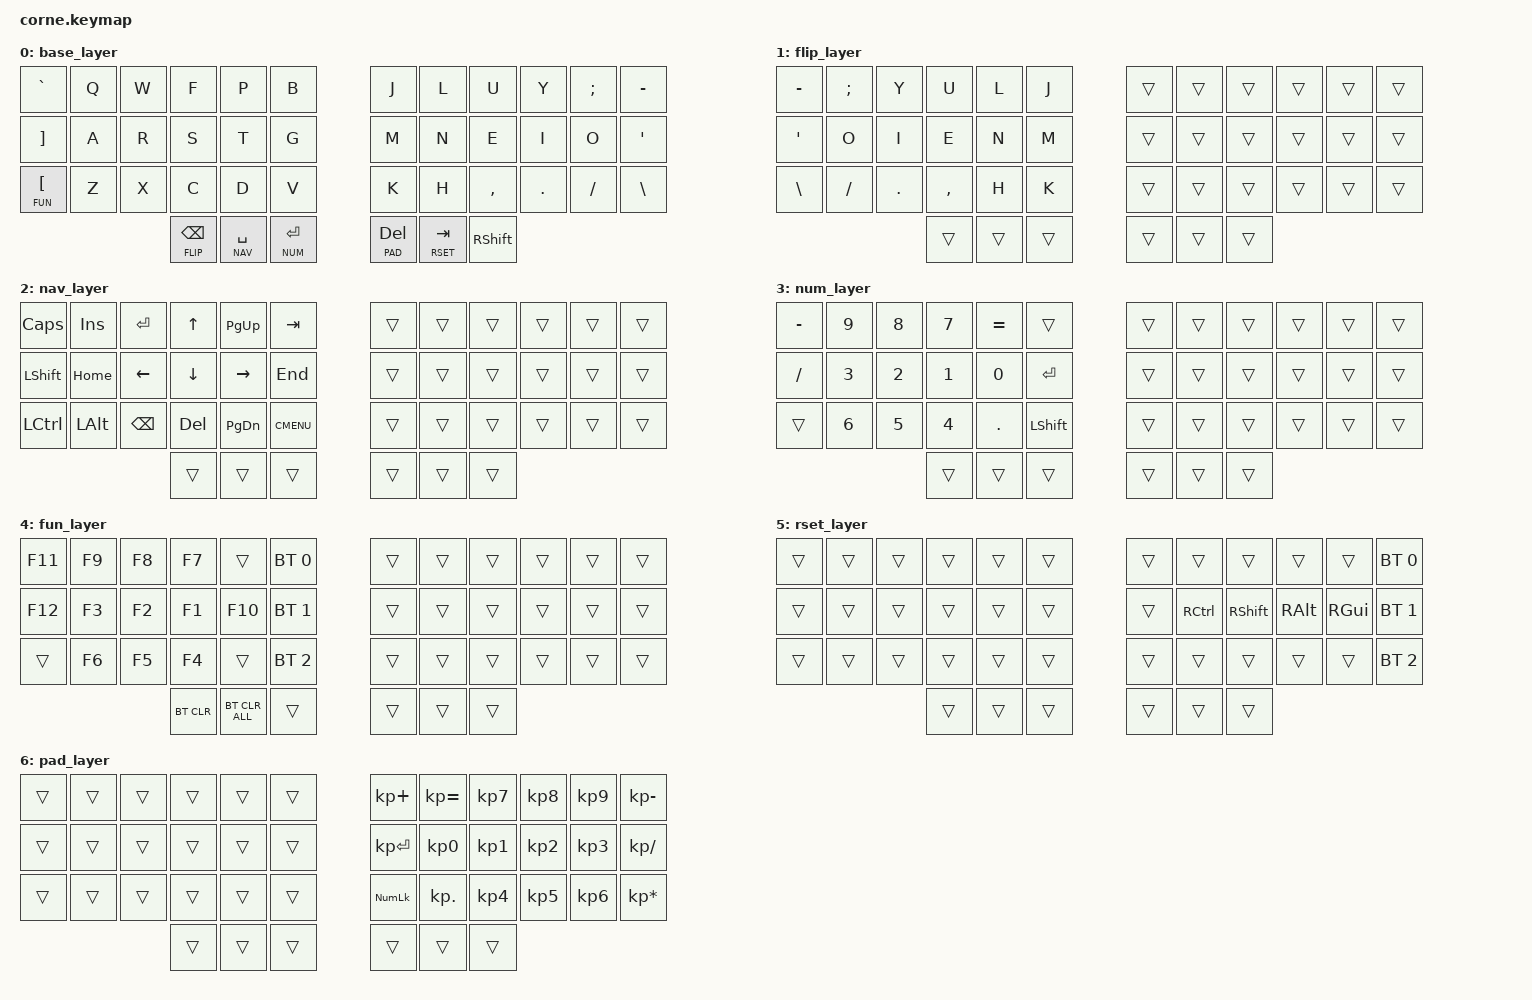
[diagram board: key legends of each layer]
/*
 * Copyright (c) 2020 The ZMK Contributors
 *
 * SPDX-License-Identifier: MIT
 * 7/14/25 Joe Schmaus
 *    - Updating to match "C:\Users\jhsch\Documents\Development\zmk-urchin\Keyboard Layouts.xlsx"
 */

#include <behaviors.dtsi>
#include <dt-bindings/zmk/keys.h>
#include <dt-bindings/zmk/bt.h>

// Layer definitions
#define BASE 0
#define FLIP 1
#define NAV 2
#define NUM 3
#define FUN 4 
#define RSET 5
#define PAD 6
// -----------------

/ {     
    behaviors {
        // Enables holding the first mod-tap key
        // by performing a tap-release-hold sequence.
        // To use it: "&qt KEYCODE1 KEYCODE2"
        qt: quick_tap {
            compatible = "zmk,behavior-hold-tap";
            label = "QUICK_TAP";
            #binding-cells = <2>;
            flavor = "hold-preferred";
            tapping-term-ms = <200>;
            quick-tap-ms = <200>;
            bindings = <&kp>, <&kp>;
        };
		
		// Balanced homerow mods example from zmk.dev
        bhm: balanced_homerow_mods {
            compatible = "zmk,behavior-hold-tap";
            #binding-cells = <2>;
            tapping-term-ms = <200>;    // <---[[moderate duration]]
            quick-tap-ms = <0>;
            flavor = "balanced";
            bindings = <&kp>, <&kp>;
        };
    };

    combos {
        // Key numbers for combos
        //  0  1  2  3  4  5           6  7  8  9 10 11 
        // 12 13 14 15 16 17          18 19 20 21 22 23
        // 24 25 26 27 28 29          30 31 32 33 34 35
        //             36 37 38    39 40 41  
        compatible = "zmk,combos";	
		// escape
        combo_esc {
            timeout-ms = <100>;
            key-positions = <1 2>;
            bindings = <&kp ESC>;
        };
		// capsword
        combo_capsword {
            timeout-ms = <200>;
            key-positions = <14 15 17>;
            bindings = <&caps_word>;
        };
		// tab
        combo_tab {
            timeout-ms = <100>;
            key-positions = <3 4>;
            bindings = <&kp TAB>;
        };
		// backspace
        combo_bkp {
            timeout-ms = <100>;
            key-positions = <25 26>;
            bindings = <&kp BSPC>;
        };
        // TRIPLE combo mods
		// 1110 - CONTROL
		// 0111 - SHIFT
		// 1101 - ALT
		// 1111 - GUI
        combo_lctrl {
            timeout-ms = <100>;
            key-positions = <13 14 15>;
            bindings = <&sk LCTRL>;
        };
        combo_rctrl {
            timeout-ms = <100>;
            key-positions = <20 21 22>;
            bindings = <&sk RCTRL>;
        };
        combo_lshft {
            timeout-ms = <100>;
            key-positions = <14 15 16>;
            bindings = <&sk LSHFT>;
        };
        combo_rshft {
            timeout-ms = <100>;
            key-positions = <19 20 21>;
            bindings = <&sk RSHFT>;
        };
        combo_lalt {
            timeout-ms = <100>;
            key-positions = <13 14 16>;
            bindings = <&sk LALT>;
        };
        combo_ralt {
            timeout-ms = <100>;
            key-positions = <19 21 22>;
            bindings = <&sk RALT>;
        };
        combo_lgui {
            timeout-ms = <100>;
            key-positions = <27 28>;
            bindings = <&sk LGUI>;
        };
        combo_rgui {
            timeout-ms = <100>;
            key-positions = <31 32>;
            bindings = <&sk RGUI>;
        };
    };

    keymap {
        compatible = "zmk,keymap";

        base_layer {
            bindings = <
   &kp GRAVE &kp Q &kp W &kp F &kp P &kp B   &kp J &kp L  &kp U     &kp Y   &kp SEMI &kp MINUS
   &kp RBKT  &kp A &kp R &kp S &kp T &kp G   &kp M &kp N  &kp E     &kp I   &kp O    &kp APOS
   &lt FUN LBKT  &kp Z &kp X &kp C &kp D &kp V   &kp K &kp H  &kp COMMA &kp DOT &kp FSLH &kp BSLH 
       &lt FLIP BSPC &lt NAV SPACE &lt NUM RET     &lt PAD DEL &lt RSET TAB &kp RSHFT
                        >;
        };
                flip_layer {
                        bindings = <
  &kp MINUS &kp SEMI &kp Y   &kp U     &kp L  &kp J    &trans &trans &trans &trans &trans &trans 
  &kp APOS  &kp O    &kp I   &kp E     &kp N  &kp M    &trans &trans &trans &trans &trans &trans 
  &kp BSLH  &kp FSLH &kp DOT &kp COMMA &kp H  &kp K    &trans &trans &trans &trans &trans &trans
                    &trans &trans &trans             &trans &trans &trans  
                        >;
                };
                nav_layer {
                        bindings = <
  &kp CAPS  &kp INS  &kp RET  &kp UP   &kp PG_UP  &kp TAB       &trans &trans &trans &trans &trans &trans 
  &kp LSHFT &kp HOME &kp LEFT &kp DOWN &kp RIGHT  &kp END     &trans &trans &trans &trans &trans &trans 
  &kp LCTRL &kp LALT &kp BSPC &kp DEL  &kp PG_DN  &kp K_CMENU &trans &trans &trans &trans &trans &trans
//  &trans &trans &kp F9  &kp F8 &kp F7 &kp F12    &trans &trans &trans &trans &trans &trans 
//  &trans &trans &kp F6  &kp F5 &kp F4 &kp F11    &trans &trans &trans &trans &trans &trans 
//  &trans &trans &kp F3  &kp F2 &kp F1 &kp F10    &trans &trans &trans &trans &trans &trans
                    &trans &trans &trans             &trans &trans &trans  
                        >;
                };
                num_layer {
                        bindings = <
  &kp MINUS &kp N9  &kp N8 &kp N7 &kp EQUAL &trans  &trans &trans &trans &trans &trans &trans 
  &kp FSLH  &kp N3  &kp N2 &kp N1 &kp N0    &kp RET &trans &trans &trans &trans &trans &trans 
  &trans    &kp N6  &kp N5 &kp N4 &kp DOT   &kp LSHFT &trans &trans &trans &trans &trans &trans
                    &trans &trans &trans           &trans &trans &trans  
                        >;
                };
                fun_layer {
                        bindings = <
  &kp F11 &kp F9  &kp F8 &kp F7  &trans  &bt BT_SEL 0   &trans &trans &trans &trans &trans &trans 
  &kp F12 &kp F3  &kp F2 &kp F1  &kp F10 &bt BT_SEL 1   &trans &trans &trans &trans &trans &trans 
  &trans  &kp F6  &kp F5 &kp F4  &trans  &bt BT_SEL 2  &trans &trans &trans &trans &trans &trans
                    &bt BT_CLR  &bt BT_CLR_ALL &trans             &trans &trans &trans  
                        >;
                };
                rset_layer {
                        bindings = <
  &trans &trans &trans &trans &trans &trans     &trans &trans    &trans    &trans   &trans   &bt BT_SEL 0 
  &trans &trans &trans &trans &trans &trans     &trans &kp RCTRL &kp RSHFT &kp RALT &kp RGUI &bt BT_SEL 1
  &trans &trans &trans &trans &trans &trans     &trans &trans    &trans    &trans   &trans   &bt BT_SEL 2
                    &trans &trans &trans             &trans &trans &trans  
                        >;
                };
                pad_layer {
                        bindings = <
  &trans &trans &trans &trans &trans &trans   &kp KP_PLUS  &kp KP_EQUAL &kp KP_N7 &kp KP_N8 &kp KP_N9 &kp KP_MINUS
  &trans &trans &trans &trans &trans &trans   &kp KP_ENTER &kp KP_N0    &kp KP_N1 &kp KP_N2 &kp KP_N3 &kp KP_SLASH
  &trans &trans &trans &trans &trans &trans   &kp KP_NUM   &kp KP_DOT   &kp KP_N4 &kp KP_N5 &kp KP_N6 &kp KP_MULTIPLY
                    &trans &trans &trans             &trans &trans &trans   
                        >;
                };
        };
};
